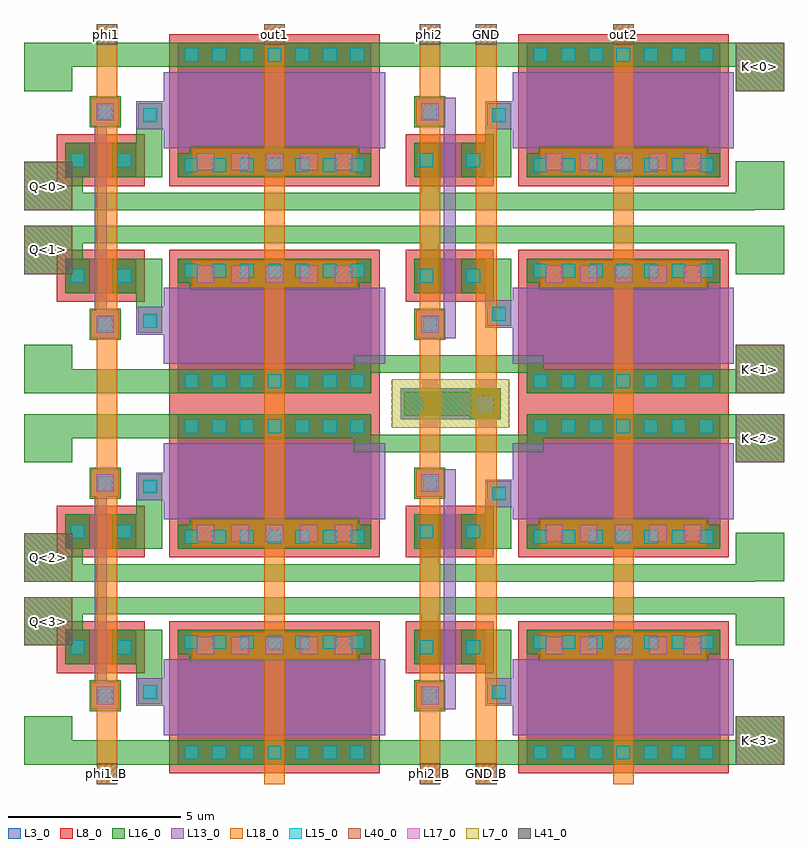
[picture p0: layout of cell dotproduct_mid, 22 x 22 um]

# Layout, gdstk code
from math import pi, radians
import gdstk
lib = gdstk.Library(unit=1e-6, precision=1e-09)
def R(c, l, rs):  # rectangles x0, y0, x1, y1
    for r in rs: c.add(gdstk.rectangle(r[:2], r[2:], *l))
def A(c, l, x, y, w, h, nx, ny, dx, dy):  # array of equal rectangles
    R(c, l, [(x+i*dx, y+j*dy, x+i*dx+w, y+j*dy+h) for i in range(nx) for j in range(ny)])
L3_0 = (3, 0)
L7_0 = (7, 0)
L8_0 = (8, 0)
L13_0 = (13, 0)
L15_0 = (15, 0)
L16_0 = (16, 0)
L17_0 = (17, 0)
L18_0 = (18, 0)
L40_0 = (40, 0)
L41_0 = (41, 0)

nch_cdns_755280836060 = lib.new_cell('nch_CDNS_755280836060')
R(nch_cdns_755280836060, L3_0, [(-0.85,0,-0.15,5.6), (-0.85,0,-0.15,5.6), (-0.15,0,2.35,5.6), (2.35,0,3.05,5.6), (2.35,0,3.05,5.6)])
R(nch_cdns_755280836060, L8_0, [(-1.1,-0.25,3.3,5.85)])
R(nch_cdns_755280836060, L13_0, [(0,-0.4,2.2,6)])
A(nch_cdns_755280836060, L15_0, -0.7, 0.2, 0.4, 0.4, 1, 7, 0, 0.8)
A(nch_cdns_755280836060, L15_0, 2.5, 0.2, 0.4, 0.4, 1, 7, 0, 0.8)
R(nch_cdns_755280836060, L16_0, [(-0.85,0,-0.15,5.6), (2.35,0,3.05,5.6)])
nch_cdns_755280836060.add(gdstk.Label('& SerialNumber 000000', (0,0), layer=16, texttype=0))
nch_cdns_755280836060.add(gdstk.Label('& Distributor VIS', (0,0), layer=16, texttype=0))
nch_cdns_755280836060.add(gdstk.Label('& Metric 1', (0,0), layer=16, texttype=0))
nch_cdns_755280836060.add(gdstk.Label('& Version    \t  1.7A', (0,0), layer=16, texttype=0))
nch_cdns_755280836060.add(gdstk.Label('& PDKName     vis35cv', (0,0), layer=16, texttype=0))
nch_cdns_755280836060.add(gdstk.Label('& Vendor VIS Corp.', (0,0), layer=16, texttype=0))
nch_cdns_755280836060.add(gdstk.Label('D', (2.7,2.8), layer=59, texttype=0))
nch_cdns_755280836060.add(gdstk.Label('S', (-0.5,2.8), layer=59, texttype=0))
nch_cdns_755280836060.add(gdstk.Label('G', (1.1,2.8), layer=59, texttype=0))
nch_cdns_755280836060.add(gdstk.Label('& SerialNumber 000000', (0,0), layer=63, texttype=63))
nch_cdns_755280836060.add(gdstk.Label('& Distributor VIS', (0,0), layer=63, texttype=63))
nch_cdns_755280836060.add(gdstk.Label('& Metric 1', (0,0), layer=63, texttype=63))
nch_cdns_755280836060.add(gdstk.Label('& Version    \t  1.7A', (0,0), layer=63, texttype=63))
nch_cdns_755280836060.add(gdstk.Label('& PDKName     vis35cv', (0,0), layer=63, texttype=63))
nch_cdns_755280836060.add(gdstk.Label('& Vendor VIS Corp.', (0,0), layer=63, texttype=63))

nch_cdns_755280836061 = lib.new_cell('nch_CDNS_755280836061')
R(nch_cdns_755280836061, L3_0, [(-0.85,0,-0.15,1), (-0.85,0,-0.15,1), (-0.15,0,0.5,1), (0.5,0,1.2,1), (0.5,0,1.2,1)])
R(nch_cdns_755280836061, L8_0, [(-1.1,-0.25,1.45,1.25)])
R(nch_cdns_755280836061, L13_0, [(0,-0.4,0.35,1.4)])
R(nch_cdns_755280836061, L15_0, [(-0.7,0.3,-0.3,0.7), (0.65,0.3,1.05,0.7)])
R(nch_cdns_755280836061, L16_0, [(-0.85,0,-0.15,1), (0.5,0,1.2,1)])
nch_cdns_755280836061.add(gdstk.Label('& SerialNumber 000000', (0,0), layer=16, texttype=0))
nch_cdns_755280836061.add(gdstk.Label('& Distributor VIS', (0,0), layer=16, texttype=0))
nch_cdns_755280836061.add(gdstk.Label('& Metric 1', (0,0), layer=16, texttype=0))
nch_cdns_755280836061.add(gdstk.Label('& Version    \t  1.7A', (0,0), layer=16, texttype=0))
nch_cdns_755280836061.add(gdstk.Label('& PDKName     vis35cv', (0,0), layer=16, texttype=0))
nch_cdns_755280836061.add(gdstk.Label('& Vendor VIS Corp.', (0,0), layer=16, texttype=0))
nch_cdns_755280836061.add(gdstk.Label('D', (0.85,0.5), layer=59, texttype=0))
nch_cdns_755280836061.add(gdstk.Label('S', (-0.5,0.5), layer=59, texttype=0))
nch_cdns_755280836061.add(gdstk.Label('G', (0.175,0.5), layer=59, texttype=0))
nch_cdns_755280836061.add(gdstk.Label('& SerialNumber 000000', (0,0), layer=63, texttype=63))
nch_cdns_755280836061.add(gdstk.Label('& Distributor VIS', (0,0), layer=63, texttype=63))
nch_cdns_755280836061.add(gdstk.Label('& Metric 1', (0,0), layer=63, texttype=63))
nch_cdns_755280836061.add(gdstk.Label('& Version    \t  1.7A', (0,0), layer=63, texttype=63))
nch_cdns_755280836061.add(gdstk.Label('& PDKName     vis35cv', (0,0), layer=63, texttype=63))
nch_cdns_755280836061.add(gdstk.Label('& Vendor VIS Corp.', (0,0), layer=63, texttype=63))

m1_poly1_cdns_7552808360 = lib.new_cell('M1_POLY1_CDNS_755280836060')
R(m1_poly1_cdns_7552808360, L13_0, [(-0.4,-0.4,0.4,0.4)])
R(m1_poly1_cdns_7552808360, L15_0, [(-0.2,-0.2,0.2,0.2)])
R(m1_poly1_cdns_7552808360, L16_0, [(-0.35,-0.35,0.35,0.35)])

m2_m1_cdns_755280836061 = lib.new_cell('M2_M1_CDNS_755280836061')
R(m2_m1_cdns_755280836061, L16_0, [(-0.45,-0.45,0.45,0.45)])
R(m2_m1_cdns_755280836061, L17_0, [(-0.25,-0.25,0.25,0.25)])
R(m2_m1_cdns_755280836061, L18_0, [(-0.4,-0.4,0.4,0.4)])

m2_m1_cdns_755280836062 = lib.new_cell('M2_M1_CDNS_755280836062')
R(m2_m1_cdns_755280836062, L16_0, [(-2.45,-0.45,2.45,0.45)])
A(m2_m1_cdns_755280836062, L17_0, -2.25, -0.25, 0.5, 0.5, 5, 1, 1, 0)
R(m2_m1_cdns_755280836062, L18_0, [(-2.4,-0.4,2.4,0.4)])

m1_pactive_cdns_75528083 = lib.new_cell('M1_PACTIVE_CDNS_755280836063')
R(m1_pactive_cdns_75528083, L3_0, [(-1.45,-0.45,1.45,0.45)])
R(m1_pactive_cdns_75528083, L7_0, [(-1.7,-0.7,1.7,0.7)])
A(m1_pactive_cdns_75528083, L15_0, -1.2, -0.2, 0.4, 0.4, 3, 1, 1, 0)
R(m1_pactive_cdns_75528083, L16_0, [(-1.35,-0.35,1.35,0.35)])

dotproduct_mid = lib.new_cell('dotproduct_mid')
R(dotproduct_mid, L8_0, [(4.2,10.96,10.3,11.06), (14.3,10.96,20.4,11.06)])
R(dotproduct_mid, L13_0, [(2.05,2.16,2.4,3.06), (12.15,2.16,12.5,3.06), (2.05,8.21,2.4,9.11), (12.15,8.21,12.5,9.11), (2.05,12.91,2.4,13.81), (12.15,12.91,12.5,13.81), (2.05,18.96,2.4,19.86), (12.15,18.96,12.5,19.86)])
R(dotproduct_mid, L16_0, [(0,0.56,1.4,1.96), (20.6,0.56,22,1.96), (3.25,3.01,4,4.46), (13.35,3.01,14.1,4.46), (0,4.01,1.4,5.41), (20.6,4.01,22,5.41), (1.2,4.91,12,5.41), (0,5.86,1.4,7.26), (1.2,5.86,12,6.36), (20.6,5.86,21.16,6.36), (20.6,5.87,22,7.27), (3.25,6.81,4,8.26), (13.35,6.81,14.1,8.26), (0,9.31,1.4,10.71), (20.6,9.31,22,10.71), (0,11.31,1.4,12.71), (20.6,11.31,22,12.71), (3.25,13.76,4,15.21), (13.35,13.76,14.1,15.21), (0,14.76,1.4,16.16), (20.6,14.76,22,16.16), (1.2,15.66,12,16.16), (0,16.61,1.4,18.01), (1.2,16.61,12,17.11), (20.6,16.61,21.16,17.11), (20.6,16.62,22,18.02), (3.25,17.56,4,19.01), (13.35,17.56,14.1,19.01), (0,20.06,1.4,21.46), (20.6,20.06,22,21.46)])
R(dotproduct_mid, L40_0, [(20.6,0.56,22,1.96), (0,4.01,1.4,5.41), (0,5.86,1.4,7.26), (20.6,9.31,22,10.71), (20.6,11.31,22,12.71), (0,14.76,1.4,16.16), (0,16.61,1.4,18.01), (20.6,20.06,22,21.46)])
R(dotproduct_mid, L41_0, [(2.1,0,2.7,0.6), (11.45,0,12.05,0.6), (13.08,0,13.68,0.6), (2.1,21.4,2.7,22), (6.95,21.4,7.55,22), (11.45,21.4,12.05,22), (13.08,21.4,13.68,22), (17.05,21.4,17.65,22)])
dotproduct_mid.add(gdstk.FlexPath([(12.325,17.16),(12.325,15.61)], 0.35, ends="flush", simple_path=True, layer=13, datatype=0))  # L13_0
dotproduct_mid.add(gdstk.FlexPath([(12.325,7.06),(12.325,4.86)], 0.35, ends="flush", simple_path=True, layer=13, datatype=0))  # L13_0
dotproduct_mid.add(gdstk.FlexPath([(2.225,17.16),(2.225,15.61)], 0.35, ends="flush", simple_path=True, layer=13, datatype=0))  # L13_0
dotproduct_mid.add(gdstk.FlexPath([(2.225,7.06),(2.225,4.86)], 0.35, ends="flush", simple_path=True, layer=13, datatype=0))  # L13_0
dotproduct_mid.add(gdstk.FlexPath([(9.8,10.01),(9.8,9.86)], 0.5, ends=(0, 0.25), simple_path=True, layer=16, datatype=0))  # L16_0
dotproduct_mid.add(gdstk.FlexPath([(14.8,9.86),(14.8,10.01)], 0.5, ends=(0.25, 0), simple_path=True, layer=16, datatype=0))  # L16_0
dotproduct_mid.add(gdstk.FlexPath([(9.8,9.86),(14.8,9.86)], 0.5, ends="extended", simple_path=True, layer=16, datatype=0))  # L16_0
dotproduct_mid.add(gdstk.FlexPath([(9.8,12.01),(9.8,12.16)], 0.5, ends=(0, 0.25), simple_path=True, layer=16, datatype=0))  # L16_0
dotproduct_mid.add(gdstk.FlexPath([(14.8,12.16),(14.8,12.01)], 0.5, ends=(0.25, 0), simple_path=True, layer=16, datatype=0))  # L16_0
dotproduct_mid.add(gdstk.FlexPath([(9.8,12.16),(14.8,12.16)], 0.5, ends="extended", simple_path=True, layer=16, datatype=0))  # L16_0
dotproduct_mid.add(gdstk.FlexPath([(12,5.16),(20.6,5.16)], 0.5, ends="flush", simple_path=True, layer=16, datatype=0))  # L16_0
dotproduct_mid.add(gdstk.FlexPath([(12,6.11),(20.6,6.11)], 0.5, ends="flush", simple_path=True, layer=16, datatype=0))  # L16_0
dotproduct_mid.add(gdstk.FlexPath([(4.45,0.91),(1.4,0.91)], 0.7, ends="flush", simple_path=True, layer=16, datatype=0))  # L16_0
dotproduct_mid.add(gdstk.FlexPath([(4.57,11.66),(1.4,11.66)], 0.7, ends="flush", simple_path=True, layer=16, datatype=0))  # L16_0
dotproduct_mid.add(gdstk.FlexPath([(4.45,21.11),(1.4,21.11)], 0.7, ends="flush", simple_path=True, layer=16, datatype=0))  # L16_0
dotproduct_mid.add(gdstk.FlexPath([(12,15.91),(20.6,15.91)], 0.5, ends="flush", simple_path=True, layer=16, datatype=0))  # L16_0
dotproduct_mid.add(gdstk.FlexPath([(20.15,11.66),(20.6,11.66)], 0.7, ends="flush", simple_path=True, layer=16, datatype=0))  # L16_0
dotproduct_mid.add(gdstk.FlexPath([(20.15,10.36),(20.6,10.36)], 0.7, ends="flush", simple_path=True, layer=16, datatype=0))  # L16_0
dotproduct_mid.add(gdstk.FlexPath([(11.75,15.66),(11.75,15.21)], 0.5, ends="flush", simple_path=True, layer=16, datatype=0))  # L16_0
dotproduct_mid.add(gdstk.FlexPath([(1.45,15.66),(1.45,15.21)], 0.5, ends="flush", simple_path=True, layer=16, datatype=0))  # L16_0
dotproduct_mid.add(gdstk.FlexPath([(1.45,17.11),(1.45,17.56)], 0.5, ends="flush", simple_path=True, layer=16, datatype=0))  # L16_0
dotproduct_mid.add(gdstk.FlexPath([(11.75,17.11),(11.75,17.56)], 0.5, ends="flush", simple_path=True, layer=16, datatype=0))  # L16_0
dotproduct_mid.add(gdstk.FlexPath([(12,16.86),(20.6,16.86)], 0.5, ends="flush", simple_path=True, layer=16, datatype=0))  # L16_0
dotproduct_mid.add(gdstk.FlexPath([(1.45,4.91),(1.45,4.46)], 0.5, ends="flush", simple_path=True, layer=16, datatype=0))  # L16_0
dotproduct_mid.add(gdstk.FlexPath([(11.75,4.91),(11.75,4.46)], 0.5, ends="flush", simple_path=True, layer=16, datatype=0))  # L16_0
dotproduct_mid.add(gdstk.FlexPath([(1.45,6.36),(1.45,6.81)], 0.5, ends="flush", simple_path=True, layer=16, datatype=0))  # L16_0
dotproduct_mid.add(gdstk.FlexPath([(11.75,6.36),(11.75,6.81)], 0.5, ends="flush", simple_path=True, layer=16, datatype=0))  # L16_0
dotproduct_mid.add(gdstk.FlexPath([(4.45,10.36),(1.4,10.36)], 0.7, ends="flush", simple_path=True, layer=16, datatype=0))  # L16_0
dotproduct_mid.add(gdstk.FlexPath([(10.05,21.11),(21.1,21.11)], 0.7, ends="flush", simple_path=True, layer=16, datatype=0))  # L16_0
dotproduct_mid.add(gdstk.FlexPath([(10.05,0.91),(21.1,0.91)], 0.7, ends="flush", simple_path=True, layer=16, datatype=0))  # L16_0
dotproduct_mid.add(gdstk.FlexPath([(11.75,13.3),(11.75,8.7)], 0.6, ends="flush", simple_path=True, layer=18, datatype=0))  # L18_0
dotproduct_mid.add(gdstk.FlexPath([(11.75,2.55),(11.75,0)], 0.6, ends="flush", simple_path=True, layer=18, datatype=0))  # L18_0
dotproduct_mid.add(gdstk.FlexPath([(11.75,8.7),(11.75,2.55)], 0.6, ends="flush", simple_path=True, layer=18, datatype=0))  # L18_0
dotproduct_mid.add(gdstk.FlexPath([(11.75,19.45),(11.75,13.3)], 0.6, ends="flush", simple_path=True, layer=18, datatype=0))  # L18_0
dotproduct_mid.add(gdstk.FlexPath([(11.75,22),(11.75,19.45)], 0.6, ends="flush", simple_path=True, layer=18, datatype=0))  # L18_0
dotproduct_mid.add(gdstk.FlexPath([(7.25,22),(7.25,0)], 0.6, ends="flush", simple_path=True, layer=18, datatype=0))  # L18_0
dotproduct_mid.add(gdstk.FlexPath([(13.38,22),(13.38,0)], 0.6, ends="flush", simple_path=True, layer=18, datatype=0))  # L18_0
dotproduct_mid.add(gdstk.FlexPath([(2.4,22),(2.4,0)], 0.6, ends="flush", simple_path=True, layer=18, datatype=0))  # L18_0
dotproduct_mid.add(gdstk.FlexPath([(17.35,22),(17.35,0)], 0.6, ends="flush", simple_path=True, layer=18, datatype=0))  # L18_0
dotproduct_mid.add(gdstk.Reference(nch_cdns_755280836060, (14.55,9.86), rotation=3*pi/2))
dotproduct_mid.add(gdstk.Reference(nch_cdns_755280836060, (20.15,1.41), rotation=pi/2))
dotproduct_mid.add(gdstk.Reference(nch_cdns_755280836060, (10.05,1.41), rotation=pi/2))
dotproduct_mid.add(gdstk.Reference(nch_cdns_755280836060, (14.55,20.61), rotation=3*pi/2))
dotproduct_mid.add(gdstk.Reference(nch_cdns_755280836060, (4.45,9.86), rotation=3*pi/2))
dotproduct_mid.add(gdstk.Reference(nch_cdns_755280836060, (20.15,12.16), rotation=pi/2))
dotproduct_mid.add(gdstk.Reference(nch_cdns_755280836060, (10.05,12.16), rotation=pi/2))
dotproduct_mid.add(gdstk.Reference(nch_cdns_755280836060, (4.45,20.61), rotation=3*pi/2))
dotproduct_mid.add(gdstk.Reference(nch_cdns_755280836061, (12.15,6.81)))
dotproduct_mid.add(gdstk.Reference(nch_cdns_755280836061, (12.15,3.46)))
dotproduct_mid.add(gdstk.Reference(nch_cdns_755280836061, (2.05,3.46)))
dotproduct_mid.add(gdstk.Reference(nch_cdns_755280836061, (12.15,17.56)))
dotproduct_mid.add(gdstk.Reference(nch_cdns_755280836061, (2.05,6.81)))
dotproduct_mid.add(gdstk.Reference(nch_cdns_755280836061, (12.15,14.21)))
dotproduct_mid.add(gdstk.Reference(nch_cdns_755280836061, (2.05,14.21)))
dotproduct_mid.add(gdstk.Reference(nch_cdns_755280836061, (2.05,17.56)))
dotproduct_mid.add(gdstk.Reference(m1_poly1_cdns_7552808360, (13.75,13.61)))
dotproduct_mid.add(gdstk.Reference(m1_poly1_cdns_7552808360, (13.75,19.36), x_reflection=True))
dotproduct_mid.add(gdstk.Reference(m1_poly1_cdns_7552808360, (13.75,8.41), x_reflection=True))
dotproduct_mid.add(gdstk.Reference(m1_poly1_cdns_7552808360, (13.75,2.66)))
dotproduct_mid.add(gdstk.Reference(m1_poly1_cdns_7552808360, (3.65,2.66)))
dotproduct_mid.add(gdstk.Reference(m1_poly1_cdns_7552808360, (3.65,8.61), x_reflection=True))
dotproduct_mid.add(gdstk.Reference(m1_poly1_cdns_7552808360, (3.65,19.36), x_reflection=True))
dotproduct_mid.add(gdstk.Reference(m1_poly1_cdns_7552808360, (3.65,13.41)))
dotproduct_mid.add(gdstk.Reference(m1_poly1_cdns_7552808360, (11.75,8.71)))
dotproduct_mid.add(gdstk.Reference(m1_poly1_cdns_7552808360, (11.75,13.31)))
dotproduct_mid.add(gdstk.Reference(m1_poly1_cdns_7552808360, (11.75,2.56)))
dotproduct_mid.add(gdstk.Reference(m1_poly1_cdns_7552808360, (11.75,19.46)))
dotproduct_mid.add(gdstk.Reference(m1_poly1_cdns_7552808360, (2.35,13.31)))
dotproduct_mid.add(gdstk.Reference(m1_poly1_cdns_7552808360, (2.35,8.71)))
dotproduct_mid.add(gdstk.Reference(m1_poly1_cdns_7552808360, (2.35,2.56)))
dotproduct_mid.add(gdstk.Reference(m1_poly1_cdns_7552808360, (2.35,19.46)))
dotproduct_mid.add(gdstk.Reference(m2_m1_cdns_755280836061, (13.35,11.01)))
dotproduct_mid.add(gdstk.Reference(m2_m1_cdns_755280836061, (11.75,8.71)))
dotproduct_mid.add(gdstk.Reference(m2_m1_cdns_755280836061, (11.75,13.31)))
dotproduct_mid.add(gdstk.Reference(m2_m1_cdns_755280836061, (11.75,2.56)))
dotproduct_mid.add(gdstk.Reference(m2_m1_cdns_755280836061, (11.75,19.46)))
dotproduct_mid.add(gdstk.Reference(m2_m1_cdns_755280836061, (2.35,13.31)))
dotproduct_mid.add(gdstk.Reference(m2_m1_cdns_755280836061, (2.35,8.71)))
dotproduct_mid.add(gdstk.Reference(m2_m1_cdns_755280836061, (2.35,2.56)))
dotproduct_mid.add(gdstk.Reference(m2_m1_cdns_755280836061, (2.35,19.46)))
dotproduct_mid.add(gdstk.Reference(m2_m1_cdns_755280836062, (7.25,18.01)))
dotproduct_mid.add(gdstk.Reference(m2_m1_cdns_755280836062, (7.25,14.76)))
dotproduct_mid.add(gdstk.Reference(m2_m1_cdns_755280836062, (7.25,7.26)))
dotproduct_mid.add(gdstk.Reference(m2_m1_cdns_755280836062, (7.25,4.01)))
dotproduct_mid.add(gdstk.Reference(m2_m1_cdns_755280836062, (17.35,18.01)))
dotproduct_mid.add(gdstk.Reference(m2_m1_cdns_755280836062, (17.35,14.76)))
dotproduct_mid.add(gdstk.Reference(m2_m1_cdns_755280836062, (17.35,7.26)))
dotproduct_mid.add(gdstk.Reference(m2_m1_cdns_755280836062, (17.35,4.01)))
dotproduct_mid.add(gdstk.Reference(m1_pactive_cdns_75528083, (12.35,11.01)))
dotproduct_mid.add(gdstk.Label('phi1_B', (2.4,0.3), layer=41, texttype=0))
dotproduct_mid.add(gdstk.Label('GND_B', (13.38,0.3), layer=41, texttype=0))
dotproduct_mid.add(gdstk.Label('phi2_B', (11.75,0.3), layer=41, texttype=0))
dotproduct_mid.add(gdstk.Label('GND', (13.38,21.7), layer=41, texttype=0))
dotproduct_mid.add(gdstk.Label('out2', (17.35,21.7), layer=41, texttype=0))
dotproduct_mid.add(gdstk.Label('out1', (7.25,21.7), layer=41, texttype=0))
dotproduct_mid.add(gdstk.Label('phi2', (11.75,21.7), layer=41, texttype=0))
dotproduct_mid.add(gdstk.Label('phi1', (2.4,21.7), layer=41, texttype=0))
dotproduct_mid.add(gdstk.Label('Q<0>', (0.7,17.31), layer=40, texttype=0))
dotproduct_mid.add(gdstk.Label('Q<3>', (0.7,4.71), layer=40, texttype=0))
dotproduct_mid.add(gdstk.Label('Q<1>', (0.7,15.46), layer=40, texttype=0))
dotproduct_mid.add(gdstk.Label('Q<2>', (0.7,6.56), layer=40, texttype=0))
dotproduct_mid.add(gdstk.Label('K<2>', (21.3,10.01), layer=40, texttype=0))
dotproduct_mid.add(gdstk.Label('K<1>', (21.3,12.01), layer=40, texttype=0))
dotproduct_mid.add(gdstk.Label('K<3>', (21.3,1.26), layer=40, texttype=0))
dotproduct_mid.add(gdstk.Label('K<0>', (21.3,20.76), layer=40, texttype=0))

lib.write_gds('dotproduct_mid.gds')
